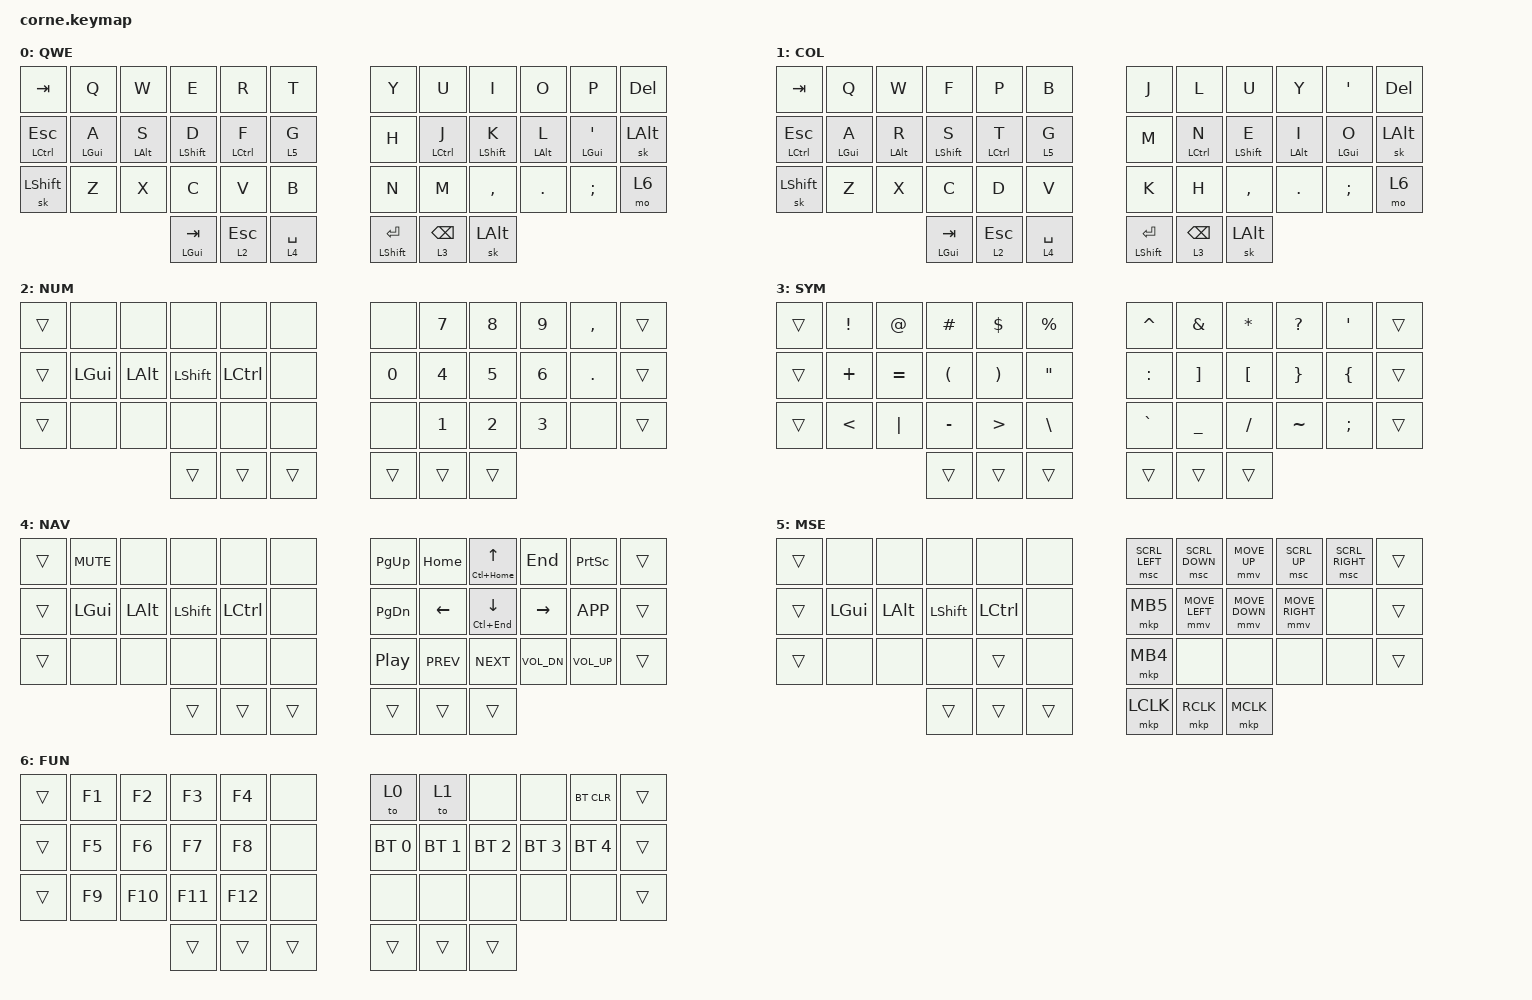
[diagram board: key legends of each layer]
/*
 * Copyright (c) 2020 The ZMK Contributors
 *
 * SPDX-License-Identifier: MIT
 */

#define ZMK_MOUSE_DEFAULT_MOVE_VAL 1500
#define ZMK_MOUSE_DEFAULT_SCRL_VAL 20

#include "keypos_def/keypos_42keys.h"
#include <behaviors.dtsi>
#include <behaviors/mouse_keys.dtsi>
#include <dt-bindings/zmk/keys.h>
#include <dt-bindings/zmk/bt.h>
#include <dt-bindings/zmk/mouse.h>

#define XXX &none
#define ___ &trans

#define NAV_UP    &mt LC(HOME) UP      // tap: up    | long-tap: beginning of document
#define NAV_DOWN  &mt LC(END)  DOWN    // tap: down  | long-tap: end       of document

&mt {
  tapping-term-ms = <200>;
  flavor = "tap-preferred";
  quick-tap-ms = <200>;
};

&mmv {
  acceleration-exponent = <1>;
  time-to-max-speed-ms = <500>;
  delay-ms = <0>;
};

&msc {
  acceleration-exponent = <1>;
  time-to-max-speed-ms = <40>;
  delay-ms = <0>;
};

&sk {
  quick-release;
};

/ {
  behaviors {
    hml: hml {
      compatible = "zmk,behavior-hold-tap";
      #binding-cells = <2>;
      tapping-term-ms = <275>;
      quick-tap-ms = <175>;
      flavor = "balanced";
      bindings = <&kp>, <&kp>;
      hold-trigger-key-positions = <KEYS_R THUMBS>;
      hold-trigger-on-release;
      require-prior-idle-ms = <150>;
    };
    hmr: hmr {
      compatible = "zmk,behavior-hold-tap";
      #binding-cells = <2>;
      tapping-term-ms = <275>;
      quick-tap-ms = <175>;
      flavor = "balanced";
      bindings = <&kp>, <&kp>;
      hold-trigger-key-positions = <KEYS_L THUMBS>;
      hold-trigger-on-release;
      require-prior-idle-ms = <150>;
    };
  };

  keymap {
    compatible = "zmk,keymap";

    default_layer {
      display-name = "QWE";
      bindings = <
      //+----------------+----------------+----------------+----------------+----------------+----------------+ +----------------+----------------+----------------+----------------+----------------+----------------+
          &kp TAB          &kp Q            &kp W            &kp E            &kp R            &kp T              &kp Y            &kp U            &kp I            &kp O            &kp P            &kp DEL
      //+----------------+----------------+----------------+----------------+----------------+----------------+ +----------------+----------------+----------------+----------------+----------------+----------------+
          &mt LCTRL ESC    &hml LGUI A      &hml LALT S      &hml LSHFT D     &hml LCTRL F     &lt 5 G            &kp H            &hmr LCTRL J     &hmr LSHFT K     &hmr LALT L      &hmr LGUI SQT    &sk LALT
      //+----------------+----------------+----------------+----------------+----------------+----------------+ +----------------+----------------+----------------+----------------+----------------+----------------+
          &sk LSHFT        &kp Z            &kp X            &kp C            &kp V            &kp B              &kp N            &kp M            &kp COMMA        &kp DOT          &kp SEMI         &mo 6
      //+----------------+----------------+----------------+----------------+----------------+----------------+ +----------------+----------------+----------------+----------------+----------------+----------------+
                                                             &mt LGUI TAB     &lt 2 ESC        &lt 4 SPACE        &mt LSHFT RET    &lt 3 BSPC       &sk LALT
      //                                                   +----------------+----------------+----------------+ +----------------+----------------+----------------+
      >;
    };

    colemak_layer {
      display-name = "COL";
      bindings = <
      //+----------------+----------------+----------------+----------------+----------------+----------------+ +----------------+----------------+----------------+----------------+----------------+----------------+
          &kp TAB          &kp Q            &kp W            &kp F            &kp P            &kp B              &kp J            &kp L            &kp U            &kp Y            &kp SQT          &kp DEL
      //+----------------+----------------+----------------+----------------+----------------+----------------+ +----------------+----------------+----------------+----------------+----------------+----------------+
          &mt LCTRL ESC    &hml LGUI A      &hml LALT R      &hml LSHFT S     &hml LCTRL T     &lt 5 G            &kp M            &hmr LCTRL N     &hmr LSHFT E     &hmr LALT I      &hmr LGUI O      &sk LALT
      //+----------------+----------------+----------------+----------------+----------------+----------------+ +----------------+----------------+----------------+----------------+----------------+----------------+
          &sk LSHFT        &kp Z            &kp X            &kp C            &kp D            &kp V              &kp K            &kp H            &kp COMMA        &kp DOT          &kp SEMI         &mo 6
      //+----------------+----------------+----------------+----------------+----------------+----------------+ +----------------+----------------+----------------+----------------+----------------+----------------+
                                                             &mt LGUI TAB     &lt 2 ESC        &lt 4 SPACE        &mt LSHFT RET    &lt 3 BSPC       &sk LALT
      //                                                   +----------------+----------------+----------------+ +----------------+----------------+----------------+
      >;
    };

    num_layer {
      display-name = "NUM";
      bindings = <
      //+----------------+----------------+----------------+----------------+----------------+----------------+ +----------------+----------------+----------------+----------------+----------------+----------------+
          ___              XXX              XXX              XXX              XXX              XXX                XXX              &kp N7           &kp N8           &kp N9           &kp COMMA        ___
      //+----------------+----------------+----------------+----------------+----------------+----------------+ +----------------+----------------+----------------+----------------+----------------+----------------+
          ___              &kp LGUI         &kp LALT         &kp LSHFT        &kp LCTRL        XXX                &kp N0           &kp N4           &kp N5           &kp N6           &kp DOT          ___
      //+----------------+----------------+----------------+----------------+----------------+----------------+ +----------------+----------------+----------------+----------------+----------------+----------------+
          ___              XXX              XXX              XXX              XXX              XXX                XXX              &kp N1           &kp N2           &kp N3           XXX              ___
      //+----------------+----------------+----------------+----------------+----------------+----------------+ +----------------+----------------+----------------+----------------+----------------+----------------+
                                                             ___              ___              ___                ___              ___              ___
      //                                                   +----------------+----------------+----------------+ +----------------+----------------+----------------+
      >;
    };

    sym_layer {
      display-name = "SYM";
      bindings = <
      //+----------------+----------------+----------------+----------------+----------------+----------------+ +----------------+----------------+----------------+----------------+----------------+----------------+
          ___              &kp EXCL         &kp AT           &kp HASH         &kp DLLR         &kp PRCNT          &kp CARET        &kp AMPS         &kp ASTRK        &kp QMARK        &kp SQT          ___
      //+----------------+----------------+----------------+----------------+----------------+----------------+ +----------------+----------------+----------------+----------------+----------------+----------------+
          ___              &kp PLUS         &kp EQUAL        &kp LPAR         &kp RPAR         &kp DQT            &kp COLON        &kp RBKT         &kp LBKT         &kp RBRC         &kp LBRC         ___
      //+----------------+----------------+----------------+----------------+----------------+----------------+ +----------------+----------------+----------------+----------------+----------------+----------------+
          ___              &kp LT           &kp PIPE         &kp MINUS        &kp GT           &kp BSLH           &kp GRAVE        &kp UNDER        &kp FSLH         &kp TILDE        &kp SEMI         ___
      //+----------------+----------------+----------------+----------------+----------------+----------------+ +----------------+----------------+----------------+----------------+----------------+----------------+
                                                             ___              ___              ___                ___              ___              ___
      //                                                   +----------------+----------------+----------------+ +----------------+----------------+----------------+
      >;
    };

    nav_layer {
      display-name = "NAV";
      bindings = <
      //+----------------+----------------+----------------+----------------+----------------+----------------+ +----------------+----------------+----------------+----------------+----------------+----------------+
          ___              &kp C_MUTE       XXX              XXX              XXX              XXX                &kp PG_UP        &kp HOME         NAV_UP           &kp END          &kp PSCRN        ___
      //+----------------+----------------+----------------+----------------+----------------+----------------+ +----------------+----------------+----------------+----------------+----------------+----------------+
          ___              &kp LGUI         &kp LALT         &kp LSHFT        &kp LCTRL        XXX                &kp PG_DN        &kp LEFT         NAV_DOWN         &kp RIGHT        &kp K_APP        ___
      //+----------------+----------------+----------------+----------------+----------------+----------------+ +----------------+----------------+----------------+----------------+----------------+----------------+
          ___              XXX              XXX              XXX              XXX              XXX                &kp C_PP         &kp C_PREV       &kp C_NEXT       &kp C_VOL_DN     &kp C_VOL_UP     ___
      //+----------------+----------------+----------------+----------------+----------------+----------------+ +----------------+----------------+----------------+----------------+----------------+----------------+
                                                             ___              ___              ___                ___              ___              ___
      //                                                   +----------------+----------------+----------------+ +----------------+----------------+----------------+
      >;
    };

    mse_layer {
      display-name = "MSE";
      bindings = <
      //+----------------+----------------+----------------+----------------+----------------+----------------+ +----------------+----------------+----------------+----------------+----------------+----------------+
          ___              XXX              XXX              XXX              XXX              XXX                &msc SCRL_LEFT   &msc SCRL_DOWN   &mmv MOVE_UP     &msc SCRL_UP     &msc SCRL_RIGHT  ___
      //+----------------+----------------+----------------+----------------+----------------+----------------+ +----------------+----------------+----------------+----------------+----------------+----------------+
          ___              &kp LGUI         &kp LALT         &kp LSHFT        &kp LCTRL        XXX                &mkp MB5         &mmv MOVE_LEFT   &mmv MOVE_DOWN   &mmv MOVE_RIGHT  XXX              ___
      //+----------------+----------------+----------------+----------------+----------------+----------------+ +----------------+----------------+----------------+----------------+----------------+----------------+
          ___              XXX              XXX              XXX              ___              XXX                &mkp MB4         XXX              XXX              XXX              XXX              ___
      //+----------------+----------------+----------------+----------------+----------------+----------------+ +----------------+----------------+----------------+----------------+----------------+----------------+
                                                             ___              ___              ___                &mkp LCLK        &mkp RCLK        &mkp MCLK
      //                                                   +----------------+----------------+----------------+ +----------------+----------------+----------------+
      >;
    };

    fun_layer {
      display-name = "FUN";
      bindings = <
      //+----------------+----------------+----------------+----------------+----------------+----------------+ +----------------+----------------+----------------+----------------+----------------+----------------+
          ___              &kp F1           &kp F2           &kp F3           &kp F4           XXX                &to 0            &to 1            XXX              XXX              &bt BT_CLR       ___
      //+----------------+----------------+----------------+----------------+----------------+----------------+ +----------------+----------------+----------------+----------------+----------------+----------------+
          ___              &kp F5           &kp F6           &kp F7           &kp F8           XXX                &bt BT_SEL 0     &bt BT_SEL 1     &bt BT_SEL 2     &bt BT_SEL 3     &bt BT_SEL 4     ___
      //+----------------+----------------+----------------+----------------+----------------+----------------+ +----------------+----------------+----------------+----------------+----------------+----------------+
          ___              &kp F9           &kp F10          &kp F11          &kp F12          XXX                XXX              XXX              XXX              XXX              XXX              ___
      //+----------------+----------------+----------------+----------------+----------------+----------------+ +----------------+----------------+----------------+----------------+----------------+----------------+
                                                             ___              ___              ___                ___              ___              ___
      //                                                   +----------------+----------------+----------------+ +----------------+----------------+----------------+
      >;
    };
  };
};
